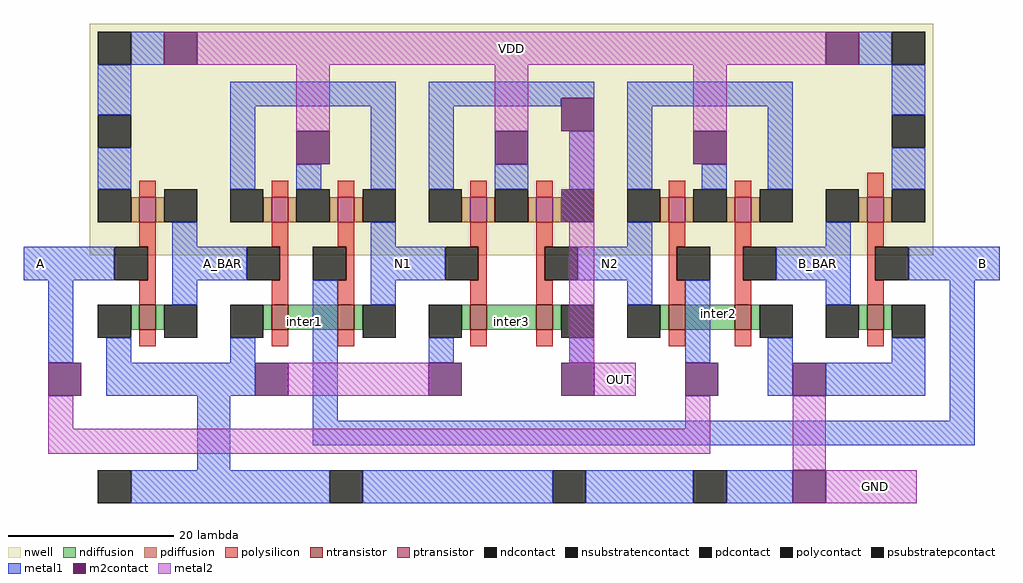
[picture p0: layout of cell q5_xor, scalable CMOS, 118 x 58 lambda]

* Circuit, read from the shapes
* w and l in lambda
.subckt q5_xor A A_BAR B B_BAR GND N1 N2 OUT VDD inter1 inter2 inter3
M1 A_BAR A GND GND nfet w=3 l=2
M2 inter1 A_BAR GND GND nfet w=3 l=2
M3 N1 B inter1 GND nfet w=3 l=2
M4 inter3 N1 GND GND nfet w=3 l=2
M5 OUT N2 inter3 GND nfet w=3 l=2
M6 inter2 A N2 GND nfet w=3 l=2
M7 GND B_BAR inter2 GND nfet w=3 l=2
M8 GND B B_BAR GND nfet w=3 l=2
M9 A_BAR A VDD VDD pfet w=3 l=2
M10 VDD A_BAR N1 VDD pfet w=3 l=2
M11 N1 B VDD VDD pfet w=3 l=2
M12 VDD N1 OUT VDD pfet w=3 l=2
M13 OUT N2 VDD VDD pfet w=3 l=2
M14 VDD A N2 VDD pfet w=3 l=2
M15 N2 B_BAR VDD VDD pfet w=3 l=2
M16 VDD B B_BAR VDD pfet w=3 l=2
.ends

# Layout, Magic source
magic
tech scmos
<< nwell >>
rect -14 6 88 34
<< polysilicon >>
rect -8 13 -6 15
rect 8 13 10 15
rect 16 13 18 15
rect 32 13 34 15
rect 40 13 42 15
rect 56 13 58 15
rect 64 13 66 15
rect 80 13 82 16
rect -8 7 -6 10
rect 8 7 10 10
rect 16 7 18 10
rect 32 7 34 10
rect -7 3 -6 7
rect 9 3 10 7
rect 17 3 18 7
rect 33 3 34 7
rect -8 0 -6 3
rect 8 0 10 3
rect 16 0 18 3
rect 32 0 34 3
rect 40 7 42 10
rect 56 7 58 10
rect 64 7 66 10
rect 80 7 82 10
rect 40 3 41 7
rect 56 3 57 7
rect 64 3 65 7
rect 80 3 81 7
rect 40 0 42 3
rect 56 0 58 3
rect 64 0 66 3
rect 80 0 82 3
rect -8 -5 -6 -3
rect 8 -5 10 -3
rect 16 -5 18 -3
rect 32 -5 34 -3
rect 40 -5 42 -3
rect 56 -5 58 -3
rect 64 -5 66 -3
rect 80 -5 82 -3
<< ndiffusion >>
rect -9 -3 -8 0
rect -6 -3 -5 0
rect 7 -3 8 0
rect 10 -3 16 0
rect 18 -3 19 0
rect 31 -3 32 0
rect 34 -3 40 0
rect 42 -3 43 0
rect 55 -3 56 0
rect 58 -3 64 0
rect 66 -3 67 0
rect 79 -3 80 0
rect 82 -3 83 0
<< pdiffusion >>
rect -9 10 -8 13
rect -6 10 -5 13
rect 7 10 8 13
rect 10 10 11 13
rect 15 10 16 13
rect 18 10 19 13
rect 31 10 32 13
rect 34 10 35 13
rect 39 10 40 13
rect 42 10 43 13
rect 55 10 56 13
rect 58 10 59 13
rect 63 10 64 13
rect 66 10 67 13
rect 79 10 80 13
rect 82 10 83 13
<< metal1 >>
rect -9 29 -5 33
rect 79 29 83 33
rect -13 23 -9 29
rect -13 14 -9 19
rect 3 24 23 27
rect 3 14 6 24
rect 11 14 14 17
rect 20 14 23 24
rect 27 25 47 27
rect 27 24 43 25
rect 27 14 30 24
rect 35 14 39 17
rect 44 14 47 21
rect 51 24 71 27
rect 51 14 54 24
rect 60 14 63 17
rect 68 14 71 24
rect 83 23 87 29
rect 83 14 87 19
rect -4 7 -1 10
rect 20 7 23 10
rect 51 7 54 10
rect 75 7 78 10
rect -22 3 -11 7
rect -4 3 5 7
rect 20 3 29 7
rect 45 3 54 7
rect 69 3 78 7
rect 85 3 96 7
rect -19 -7 -16 3
rect -4 0 -1 3
rect -12 -7 -9 -4
rect 3 -7 6 -4
rect -12 -11 6 -7
rect -1 -20 3 -11
rect 13 -14 16 3
rect 20 0 23 3
rect 51 0 54 3
rect 27 -7 30 -4
rect 44 -7 47 -4
rect 58 -7 61 3
rect 75 0 78 3
rect 68 -11 71 -4
rect 83 -7 87 -4
rect 75 -11 87 -7
rect 90 -14 93 3
rect 13 -17 93 -14
rect -9 -24 15 -20
rect 19 -24 42 -20
rect 46 -24 59 -20
rect 63 -24 71 -20
<< metal2 >>
rect -1 29 75 33
rect 11 21 15 29
rect 35 21 39 29
rect 44 14 47 21
rect 59 21 63 29
rect 43 10 47 14
rect 44 -7 47 10
rect 10 -11 27 -7
rect 47 -11 52 -7
rect -19 -15 -16 -11
rect 58 -15 61 -11
rect -19 -18 61 -15
rect 71 -20 75 -11
rect 75 -24 86 -20
<< ntransistor >>
rect -8 -3 -6 0
rect 8 -3 10 0
rect 16 -3 18 0
rect 32 -3 34 0
rect 40 -3 42 0
rect 56 -3 58 0
rect 64 -3 66 0
rect 80 -3 82 0
<< ptransistor >>
rect -8 10 -6 13
rect 8 10 10 13
rect 16 10 18 13
rect 32 10 34 13
rect 40 10 42 13
rect 56 10 58 13
rect 64 10 66 13
rect 80 10 82 13
<< polycontact >>
rect -11 3 -7 7
rect 5 3 9 7
rect 13 3 17 7
rect 29 3 33 7
rect 41 3 45 7
rect 57 3 61 7
rect 65 3 69 7
rect 81 3 85 7
<< ndcontact >>
rect -13 -4 -9 0
rect -5 -4 -1 0
rect 3 -4 7 0
rect 19 -4 23 0
rect 27 -4 31 0
rect 43 -4 47 0
rect 51 -4 55 0
rect 67 -4 71 0
rect 75 -4 79 0
rect 83 -4 87 0
<< pdcontact >>
rect -13 10 -9 14
rect -5 10 -1 14
rect 3 10 7 14
rect 11 10 15 14
rect 19 10 23 14
rect 27 10 31 14
rect 35 10 39 14
rect 43 10 47 14
rect 51 10 55 14
rect 59 10 63 14
rect 67 10 71 14
rect 75 10 79 14
rect 83 10 87 14
<< m2contact >>
rect -5 29 -1 33
rect 75 29 79 33
rect 11 17 15 21
rect 43 21 47 25
rect 35 17 39 21
rect 59 17 63 21
rect -19 -11 -15 -7
rect 6 -11 10 -7
rect 27 -11 31 -7
rect 43 -11 47 -7
rect 58 -11 62 -7
rect 71 -11 75 -7
rect 71 -24 75 -20
<< psubstratepcontact >>
rect -13 -24 -9 -20
rect 15 -24 19 -20
rect 42 -24 46 -20
rect 59 -24 63 -20
<< nsubstratencontact >>
rect -13 29 -9 33
rect 83 29 87 33
rect -13 19 -9 23
rect 83 19 87 23
<< labels >>
rlabel metal1 74 5 74 5 1 B_BAR
rlabel metal1 -20 5 -20 5 3 A
rlabel metal1 94 5 94 5 7 B
rlabel metal1 24 5 24 5 1 N1
rlabel metal2 50 -9 50 -9 1 OUT
rlabel metal2 81 -22 81 -22 1 GND
rlabel ndiffusion 12 -2 12 -2 1 inter1
rlabel ndiffusion 62 -1 62 -1 1 inter2
rlabel ndiffusion 37 -2 37 -2 1 inter3
rlabel metal1 49 5 49 5 1 N2
rlabel metal1 2 5 2 5 1 A_BAR
rlabel metal2 37 31 37 31 1 VDD
<< end >>
